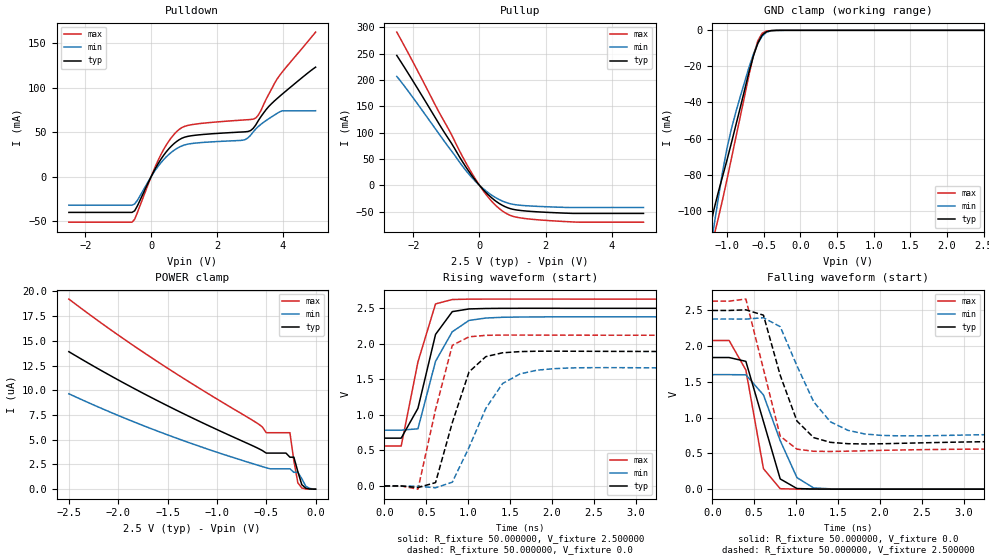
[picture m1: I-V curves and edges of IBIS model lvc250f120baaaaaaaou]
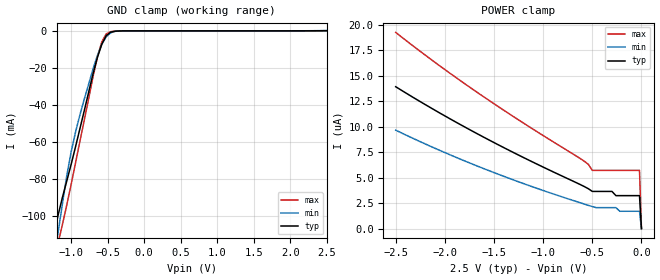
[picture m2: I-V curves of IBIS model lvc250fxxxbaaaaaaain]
| IBIS Models Generator: Lattice Diamond (64-bit) 3.11.0.396.4
| Generate date: Wed Nov 04 18:45:10 2020
| IBIS File xp2.ibs
| LibisGenD3 v1.1.A.A, 06/28/2007, Lattice Semiconductor Corporation
| North Carolina State University, ERL, 2006
[IBIS ver]   3.2
[File Name]   test_impl1.ibs
[File Rev]   2.3
[Date]   Aug 14, 2008
[Source]   Lattice Semiconductor CS100A Process
[Notes]   Lattice Semiconductor has worked hard to ensure the
   models below are accurate and complete.  However, the
   data below was generated using simulation of the
   input/output model files for the silicon.  Therefore,
   the data below is for reference and initial design
   purposes only.
   Lattice Semiconductor grants permission to use this
   data for use in printed circuit design using this
   Lattice programmable logic device.  Other use of this
   code, including the selling or duplication of any
   portion is strictly prohibited.
|   NAMING CONVENTION
   The IBIS [Model] header is limited by the specification to a
   total of 20 characters.  With such a set of characters available
   for naming models it becomes important to attempt to
   meaningfully encode the IO standards so they fit within the
   twenty character limit.  It would seem that twenty characters
   would provide room enough for describing IO's.  However, the
   PLD IO structure continues to grow more and more complex.  The
   complexity is making the twenty characters insuffiently
   descriptive.  In order to overcome this issue the naming
   convention described below is implemented to resolve the issue.
The twenty character space is managed as follows:
   bbbvvvsdddprugtcoixx
   b = standard
   v = voltage (x.xx V)
   s = slew code
   d = drive (xx.x ma)
   p = pullup code
   r = series resistance code
   u = terminate to vcc code
   g = terminate to gnd code
   t = terminate to vtt code
   c = common mode termination mode
   o = diff resistor code
   i = diff resistor current code
   x = reserved
   standard
   LVCMOS   lvc
   lvcmosd   lvd
   lvdse   lve
   LVTTL   lvt
   lvttld   ltd
   PCI   pci
   pcix   pcx
   AGP1x   ag1
   agp2x   ag2
   sstl_I   ss1
   sstl_II   ss2
   sstld_I   s1d
   sstld_II   s2d
   CTT   ctt
   hstl_i   hs1
   hstl_ii   hs2
   hstl_iii   hs3
   hstl_iv   hs4
   hstld_i   h1d
   hstld_ii   h2d
   gtl   gtl
   gtlplus   gtp
   lvds   lvs
   blvds   blv
   mlvds   mlv
   lvpecl   lvp
   cml   cml
   hypt   hyp
   rsds   rsd
   vref1   vr1
   vref2   vr2
   ref_res   rer
   slew
   na   a
   fast   f
   slow   s
   pullmode
   off   a
   pullup   b
   pulldown   c
   bushold   d
   pciclamp   e
   up_pciclamp   f
   down_pciclamp   g
   keeper_pciclamp   h
   schmitt   i
   up_schmitt   j
   down_schmitt   k
   keeper_schmitt   l
   up_pciclamp_schmitt   m
   down_pciclamp_schmitt   n
   keeper_pciclamp_schmitt  o
   pciclamp_schmitt   p
   impedence
   off   a
   25   b
   33   c
   50   d
   100   e
   termVCC
   off   a
   50   b
   100   c
   120   d
   termGND
   off   a
   50   b
   100   c
   120   d
   termVTT
   off   a
   60   b
   75   c
   120   d
   150   e
   210   f
   VCMT
   off   a
   VCMT   b
   VTT   c
   DDR-2   d
   differential resistor
   off   a
   120   b
   150   c
   220   d
   420   e
   differential current
   NA   a
   2   b
   3.5   c
   4   d
   6   e
   Reserved   IO type
   in   input only
   ou   output
   io   I/O
   od   Open drain
   on   Inverting differential I/O
   (signal name only)
   op   Non-Inverting differential I/O
   (signal name only)
   All the IO models are generated with pull mode set to UP.
   Lattice Semiconductor Corporation
   5555 NE Moore Court
   Hillsboro, OR 97214
   U.S.A
   TEL: 1-800-Lattice (USA and Canada)
   408-826-6000 (other locations)
   web: http://www.latticesemi.com/
   email: techsupport@latticesemi.com
[Disclaimer] This IBIS source code is intended as a design reference
   which illustrates how the Lattice Semiconductor device operates.
   It is the user's responsibility to verify their design for
   consistency and functionality through the use of formal
   verification methods.  Lattice Semiconductor provides no warranty
   regarding the use or functionality of this data.
[Copyright]   Copyright 2007 by Lattice Semiconductor Corporation
|   Component XP2
[Component]   XP2
[Manufacturer]   Lattice Semiconductor Corp.
[Package]
|TQFP144
| variable   typ   min   max
R_pkg   159.8m   143.8m   177.3m
L_pkg   7.50nH   6.44nH   8.48nH
C_pkg   1.22pF   1.06pF   1.38pF
[Pin] signal_name   model_name   R_pin   L_pin   C_pin
113   btn_center   lvc250fxxxbaaaaaaain
127   btn_down   lvc250fxxxbaaaaaaain
122   btn_left   lvc250fxxxbaaaaaaain
123   btn_right   lvc250fxxxbaaaaaaain
125   btn_up   lvc250fxxxbaaaaaaain
61   clk_25m   lvc250fxxxbaaaaaaain
115   led[0]   lvc250f120baaaaaaaou
129   led[1]   lvc250f120baaaaaaaou
120   led[2]   lvc250f120baaaaaaaou
116   led[3]   lvc250f120baaaaaaaou
124   led[4]   lvc250f120baaaaaaaou
121   led[5]   lvc250f120baaaaaaaou
119   led[6]   lvc250f120baaaaaaaou
17   led[7]   lvc250f120baaaaaaaou
114   rs232_tx   lvc250f120baaaaaaaou
| Models and submodels in the file (2): lvc250f120baaaaaaaou (Output), lvc250fxxxbaaaaaaain (Input)
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[Model]   lvc250f120baaaaaaaou
Model_type   Output
Polarity   Non-Inverting
Enable   Active-Low
Vmeas =   1.250000V
Cref =   0.0F
Rref =   1.000000M
Vref =   0.0V
C_comp   4.741800pF   3.966500pF   6.214600pF
[Temperature Range]   25.000000   0.105000k   -40.000000
[Voltage Range]   2.500000V   2.380000V   2.630000V
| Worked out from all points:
|   slope of the pulldown table from 0 to 0.375 V, typ, clamps not added: 15.7 ohm
|   slope of the pullup table from 0 to 0.375 V, typ, clamps not added: 15.6 ohm
|   GND clamp passes 1 mA (typ) near -0.47 V on its own axis
|   rising waveform, R_fixture 50.000000, V_fixture 2.500000: 20-80 % time 237ps typ, 291ps min, 251ps max; typ from 0.673 V to 2.5 V
|   rising waveform, R_fixture 50.000000, V_fixture 0.0: 20-80 % time 290ps typ, 400ps min, 257ps max; typ from 0 V to 1.86 V
|   falling waveform, R_fixture 50.000000, V_fixture 0.0: 20-80 % time 275ps typ, 327ps min, 190ps max; typ from 1.84 V to 0 V
|   falling waveform, R_fixture 50.000000, V_fixture 2.500000: 20-80 % time 302ps typ, 405ps min, 265ps max; typ from 2.5 V to 0.674 V
[Pulldown]
|Voltage   I(typ)   I(min)   I(max)
-2.5V     -40.11mA   -32mA      -51.14mA
-580mV    -40.11mA   -32mA      -51.14mA
-420mV    -33.04mA   -26.71mA   -40.63mA
300mV     19.82mA    15.86mA    25.07mA
780mV     39.8mA     31.78mA    50.93mA
1.18V     45.9mA     37.13mA    58.26mA
2.78V     50.43mA    41.1mA     63.83mA
3.02V     51.89mA    46.51mA    64.45mA
3.18V     58.24mA    53.76mA    66.09mA
3.58V     79.23mA    65.43mA    93.07mA
3.98V     92.81mA    74.17mA    117.6mA
5V        123.3mA    74.31mA    162.8mA
[Pullup]
|Voltage   I(typ)   I(min)   I(max)
-2.5V     246.6mA    206.7mA    290.9mA
-1.24V    118.5mA    99.1mA     140.9mA
-840mV    79.15mA    64.8mA     95.55mA
-520mV    45.48mA    36.96mA    55.39mA
-280mV    22.89mA    18.32mA    28.28mA
200mV     -13.85mA   -10.86mA   -17.54mA
440mV     -27.47mA   -21.57mA   -35mA
680mV     -37.58mA   -29.57mA   -48.17mA
1.08V     -46.44mA   -36.81mA   -60.02mA
1.8V      -50.55mA   -40.12mA   -65.69mA
3V        -53.37mA   -42.14mA   -70.02mA
4.96V     -53.37mA   -42.14mA   -70.05mA
[GND_clamp]
|Voltage   I(typ)   I(min)   I(max)
-2.5V     -584.6mA   -574.9mA   -594.8mA
-1.24V    -111.2mA   -124.9mA   -124.6mA
-1.18V    -99.62mA   -109.2mA   -114.5mA
-1.12V    -89.89mA   -93.42mA   -104.3mA
-1.06V    -80.91mA   -78.21mA   -93.77mA
-1V       -71.89mA   -65.29mA   -82.6mA
-880mV    -52.63mA   -45.33mA   -59.45mA
-640mV    -14.2mA    -13.21mA   -13.97mA
-580mV    -7.105mA   -7.276mA   -5.84mA
-520mV    -2.586mA   -3.162mA   -1.55mA
-340mV    -41.79uA   -60.32uA   -52.18uA
2.5V      3.54nA     577.2nA    2.302nA
[POWER_clamp]
|Voltage   I(typ)   I(min)   I(max)
-2.5V     13.91uA    9.652uA    19.23uA
-1.54V    8.637uA    5.644uA    12.5uA
-580mV    4.12uA     2.408uA    6.598uA
-540mV    3.912uA    2.285uA    6.301uA
-500mV    3.651uA    2.163uA    5.712uA
-300mV    3.651uA    2.063uA    5.712uA
-260mV    3.237uA    2.063uA    5.712uA
-220mV    3.237uA    1.707uA    2.873uA
-180mV    1.789uA    1.707uA    652.6nA
-140mV    462.3nA    1.074uA    127nA
-100mV    102.5nA    303.1nA    21.19nA
0V        3.54nA     10.27nA    2.679nA
[Ramp]
| variable   typ   min   max
dV/dt_r  1.115668/0.289994n  0.962217/0.400405n  1.262544/0.251365n
dV/dt_f  1.095687/0.301883n  0.956253/0.405438n  1.240451/0.259464n
R_load = 50.000000
[Rising Waveform]
R_fixture=   50.000000
V_fixture=   2.500000
V_fixture_min=   2.380000
V_fixture_max=   2.630000
|time   V(typ)   V(min)   V(max)
0s        673.2mV    785.3mV    562.2mV
200ps     673.2mV    785.3mV    562.5mV
400ps     1.093V     804.7mV    1.747V
610ps     2.133V     1.755V     2.562V
810ps     2.453V     2.171V     2.624V
1.01ns    2.491V     2.33V      2.629V
1.21ns    2.498V     2.363V     2.63V
1.62ns    2.5V       2.378V     2.63V
20ns      2.5V       2.38V      2.63V
[Rising Waveform]
R_fixture=   50.000000
V_fixture=   0.0
V_fixture_min=   0.0
V_fixture_max=   0.0
|time   V(typ)   V(min)   V(max)
0s        39.6nV     156nV      21.63nV
400ps     -21.89mV   -3.552mV   -44.79mV
610ps     47.41mV    -25.14mV   1.075V
810ps     890.3mV    53.2mV     1.979V
1.01ns    1.606V     543.3mV    2.099V
1.21ns    1.82V      1.091V     2.12V
1.41ns    1.874V     1.441V     2.124V
1.62ns    1.891V     1.578V     2.124V
2.02ns    1.897V     1.651V     2.123V
20ns      1.859V     1.604V     2.104V
[Falling Waveform]
R_fixture=   50.000000
V_fixture=   0.0
V_fixture_min=   0.0
V_fixture_max=   0.0
|time   V(typ)   V(min)   V(max)
0s        1.841V     1.602V     2.08V
200ps     1.841V     1.602V     2.08V
400ps     1.788V     1.6V       1.667V
610ps     946mV      1.318V     286mV
810ps     142.9mV    679.1mV    6.301mV
1.01ns    8.674mV    161.1mV    678.5uV
1.21ns    1.706mV    16.68mV    -74.39uV
1.41ns    362.5uV    4.508mV    -181.5uV
20ns      216.8nV    433.2nV    122.3nV
[Falling Waveform]
R_fixture=   50.000000
V_fixture=   2.500000
V_fixture_min=   2.380000
V_fixture_max=   2.630000
|time   V(typ)   V(min)   V(max)
0s        2.5V       2.38V      2.63V
400ps     2.509V     2.379V     2.659V
610ps     2.434V     2.398V     1.68V
810ps     1.593V     2.273V     740.7mV
1.01ns    952.9mV    1.726V     559.4mV
1.21ns    720.7mV    1.22V      530mV
1.41ns    654.8mV    941.8mV    527.1mV
1.62ns    636mV      822.5mV    531.4mV
2.22ns    640.4mV    745.7mV    547.5mV
20ns      673.9mV    786.2mV    562.6mV
[Model]   lvc250fxxxbaaaaaaain
Model_type   Input
Polarity   Non-Inverting
Enable   Active-Low
Vinl =   0.700000V
Vinh =   1.700000V
C_comp   4.741800pF   3.966500pF   6.214600pF
[Temperature Range]   25.000000   0.105000k   -40.000000
[Voltage Range]   2.500000V   2.380000V   2.630000V
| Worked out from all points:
|   GND clamp passes 1 mA (typ) near -0.47 V on its own axis
[GND_clamp]
|Voltage   I(typ)   I(min)   I(max)
-2.5V     -584.6mA   -574.9mA   -594.8mA
-1.24V    -111.2mA   -124.9mA   -124.8mA
-1.18V    -99.67mA   -109.2mA   -114.7mA
-1.12V    -89.97mA   -93.43mA   -104.6mA
-1.06V    -81.03mA   -78.22mA   -94.01mA
-1V       -72.05mA   -65.32mA   -82.83mA
-880mV    -52.81mA   -45.39mA   -59.65mA
-640mV    -14.35mA   -13.33mA   -14.14mA
-580mV    -7.248mA   -7.396mA   -6.018mA
-520mV    -2.73mA    -3.281mA   -1.735mA
-340mV    -155.7uA   -163.3uA   -182.8uA
2.5V      3.573nA    50.63uA    -59.41uA
[POWER_clamp]
|Voltage   I(typ)   I(min)   I(max)
-2.5V     13.91uA    9.653uA    19.23uA
-2.02V    11.16uA    7.54uA     15.73uA
-1.54V    8.637uA    5.644uA    12.5uA
-1.06V    6.313uA    3.942uA    9.488uA
-580mV    4.12uA     2.408uA    6.598uA
-540mV    3.912uA    2.285uA    6.301uA
-500mV    3.651uA    2.163uA    5.712uA
-300mV    3.651uA    2.063uA    5.712uA
-260mV    3.239uA    2.063uA    5.712uA
-220mV    3.239uA    1.707uA    5.712uA
-20mV     3.239uA    1.707uA    5.712uA
0V        3.573nA    10.31nA    2.704nA
